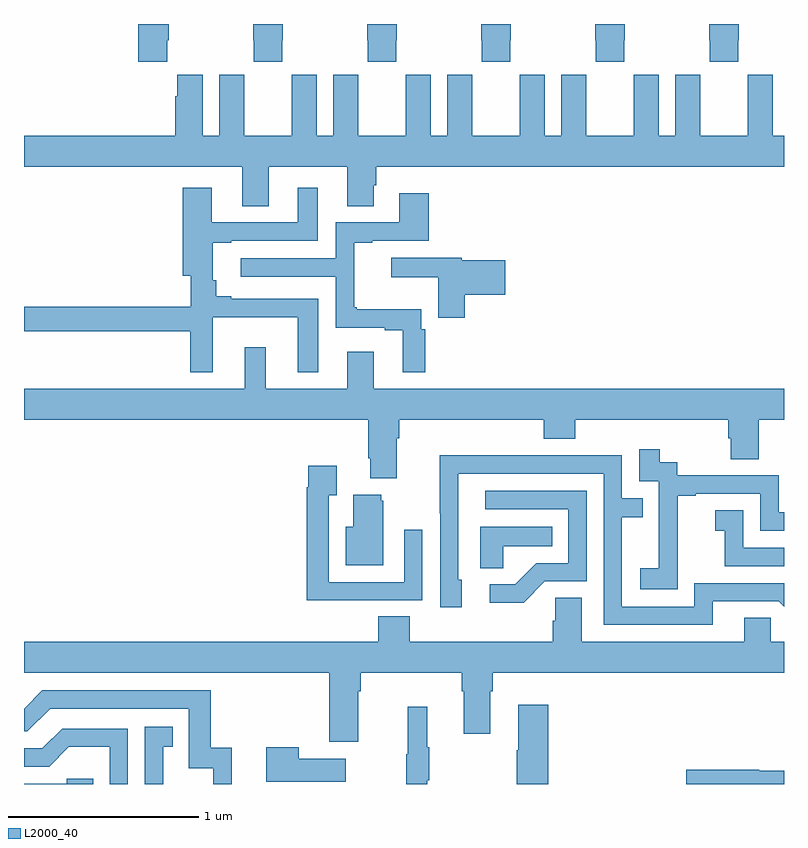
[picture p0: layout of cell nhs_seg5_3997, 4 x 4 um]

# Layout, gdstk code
import gdstk
lib = gdstk.Library(unit=1e-6, precision=1e-09)
def P(c, l, *ps):  # polygons
    for p in ps: c.add(gdstk.Polygon(p, *l))
L2000_40 = (2000, 40)

nhs_seg5_3997 = lib.new_cell('nhs_seg5_3997')
P(nhs_seg5_3997, L2000_40, [(346.359,902.713),(346.362,902.713),(346.362,902.799),(346.207,902.799),(346.207,902.713),(346.209,902.713),(346.209,902.601),(346.359,902.601)],
  [(346.959,902.713),(346.962,902.713),(346.962,902.799),(346.807,902.799),(346.807,902.713),(346.809,902.713),(346.809,902.601),(346.959,902.601)],
  [(347.559,902.713),(347.562,902.713),(347.562,902.799),(347.407,902.799),(347.407,902.713),(347.409,902.713),(347.409,902.601),(347.559,902.601)],
  [(348.159,902.713),(348.162,902.713),(348.162,902.799),(348.007,902.799),(348.007,902.713),(348.009,902.713),(348.009,902.601),(348.159,902.601)],
  [(348.759,902.713),(348.762,902.713),(348.762,902.799),(348.607,902.799),(348.607,902.713),(348.609,902.713),(348.609,902.601),(348.759,902.601)],
  [(345.755,902.713),(345.762,902.713),(345.762,902.799),(345.602,902.799),(345.602,902.601),(345.755,902.601)],
  [(346.288,902.048),(346.7,902.048),(346.7,901.84),(346.84,901.84),(346.84,901.95),(346.853,901.95),(346.853,902.048),(349,902.048),(349,902.212),(348.94,902.212),(348.94,902.533),(348.81,902.533),(348.81,902.42),(348.809,902.42),(348.809,902.212),(348.559,902.212),(348.559,902.42),(348.558,902.42),(348.558,902.533),(348.428,902.533),(348.428,902.212),(348.34,902.212),(348.34,902.533),(348.21,902.533),(348.21,902.42),(348.209,902.42),(348.209,902.212),(347.959,902.212),(347.959,902.42),(347.958,902.42),(347.958,902.533),(347.828,902.533),(347.828,902.212),(347.74,902.212),(347.74,902.533),(347.61,902.533),(347.61,902.42),(347.609,902.42),(347.609,902.212),(347.359,902.212),(347.359,902.42),(347.358,902.42),(347.358,902.533),(347.228,902.533),(347.228,902.212),(347.14,902.212),(347.14,902.533),(347.01,902.533),(347.01,902.42),(347.009,902.42),(347.009,902.212),(346.759,902.212),(346.759,902.42),(346.758,902.42),(346.758,902.533),(346.628,902.533),(346.628,902.212),(346.54,902.212),(346.54,902.533),(346.41,902.533),(346.41,902.42),(346.409,902.42),(346.409,902.212),(346.159,902.212),(346.159,902.42),(346.158,902.42),(346.158,902.533),(346.028,902.533),(346.028,902.212),(345.94,902.212),(345.94,902.533),(345.806,902.533),(345.806,902.42),(345.797,902.42),(345.797,902.212),(345,902.212),(345,902.048),(346.148,902.048),(346.148,901.84),(346.288,901.84)],
  [(345.994,901.256),(346.442,901.256),(346.442,900.965),(346.549,900.965),(346.549,901.353),(346.09,901.353),(346.09,901.366),(346.012,901.366),(346.012,901.45),(345.994,901.45),(345.994,901.647),(346.09,901.647),(346.09,901.659),(346.546,901.659),(346.546,901.936),(346.442,901.936),(346.442,901.755),(345.988,901.755),(345.988,901.936),(345.836,901.936),(345.836,901.475),(345.878,901.475),(345.878,901.31),(345,901.31),(345,901.182),(345.876,901.182),(345.876,900.965),(345.994,900.965)],
  [(347.111,901.193),(347.091,901.193),(347.091,901.297),(346.75,901.297),(346.75,901.309),(346.739,901.309),(346.739,901.647),(346.834,901.647),(346.834,901.659),(347.129,901.659),(347.129,901.909),(346.976,901.909),(346.976,901.755),(346.641,901.755),(346.641,901.566),(346.14,901.566),(346.14,901.47),(346.641,901.47),(346.641,901.2),(346.898,901.2),(346.898,901.188),(346.994,901.188),(346.994,900.965),(347.111,900.965)],
  [(347.321,901.373),(347.533,901.373),(347.533,901.556),(347.304,901.556),(347.304,901.57),(346.932,901.57),(346.932,901.466),(347.18,901.466),(347.18,901.254),(347.321,901.254)],
  [(346.963,900.62),(346.976,900.62),(346.976,900.716),(347.735,900.716),(347.735,900.617),(347.9,900.617),(347.9,900.716),(348.707,900.716),(348.707,900.618),(348.719,900.618),(348.719,900.508),(348.867,900.508),(348.867,900.716),(349,900.716),(349,900.88),(346.84,900.88),(346.84,901.075),(346.7,901.075),(346.7,900.88),(346.273,900.88),(346.273,901.099),(346.163,901.099),(346.163,900.88),(345,900.88),(345,900.716),(346.811,900.716),(346.811,900.514),(346.823,900.514),(346.823,900.407),(346.963,900.407)],
  [(348.441,900.031),(348.44,900.031),(348.44,900.315),(348.535,900.315),(348.535,900.327),(348.876,900.327),(348.876,900.132),(349,900.132),(349,900.228),(348.972,900.228),(348.972,900.423),(348.438,900.423),(348.438,900.492),(348.346,900.492),(348.346,900.562),(348.237,900.562),(348.237,900.393),(348.342,900.393),(348.342,900.164),(348.341,900.164),(348.341,899.935),(348.243,899.935),(348.243,899.825),(348.441,899.825)],
  [(348.625,899.76),(348.972,899.76),(349,899.732),(349,899.856),(348.528,899.856),(348.528,899.733),(348.147,899.733),(348.147,900.202),(348.257,900.202),(348.257,900.303),(348.147,900.303),(348.147,900.528),(347.651,900.528),(347.651,900.53),(347.188,900.53),(347.188,900.223),(347.19,900.223),(347.19,899.73),(347.305,899.73),(347.305,899.874),(347.286,899.874),(347.286,900.432),(348.051,900.432),(348.051,899.637),(348.625,899.637)],
  [(346.781,899.766),(347.097,899.766),(347.097,900.136),(347.001,900.136),(347.001,899.862),(346.605,899.862),(346.605,900.319),(346.645,900.319),(346.645,900.475),(346.497,900.475),(346.497,900.362),(346.489,900.362),(346.489,899.765),(346.781,899.765)],
  [(347.742,899.865),(347.961,899.865),(347.961,900.342),(347.427,900.342),(347.427,900.246),(347.865,900.246),(347.865,899.961),(347.696,899.961),(347.585,899.85),(347.451,899.85),(347.451,899.753),(347.629,899.753)],
  [(346.891,900.291),(346.88,900.291),(346.88,900.322),(346.733,900.322),(346.733,900.154),(346.694,900.154),(346.694,899.951),(346.891,899.951)],
  [(349,900.042),(348.786,900.042),(348.786,900.241),(348.639,900.241),(348.639,900.131),(348.688,900.131),(348.688,899.946),(349,899.946)],
  [(347.523,900.05),(347.78,900.05),(347.78,900.154),(347.402,900.154),(347.402,899.935),(347.523,899.935)],
  [(346.759,899.288),(346.772,899.288),(346.772,899.384),(347.303,899.384),(347.303,899.288),(347.315,899.288),(347.315,899.064),(347.455,899.064),(347.455,899.288),(347.468,899.288),(347.468,899.384),(349,899.384),(349,899.548),(348.93,899.548),(348.93,899.675),(348.791,899.675),(348.791,899.548),(347.935,899.548),(347.935,899.78),(347.796,899.78),(347.796,899.657),(347.783,899.657),(347.783,899.548),(347.03,899.548),(347.03,899.681),(346.865,899.681),(346.865,899.548),(345,899.548),(345,899.384),(346.607,899.384),(346.607,899.022),(346.759,899.022)],
  [(346.094,898.99),(345.983,898.99),(345.983,899.292),(345.096,899.292),(345,899.196),(345,899.076),(345.018,899.076),(345.138,899.196),(345.867,899.196),(345.867,898.881),(345.996,898.881),(345.996,898.799),(346.094,898.799)],
  [(347.759,899.215),(347.6,899.215),(347.6,898.976),(347.593,898.976),(347.593,898.799),(347.759,898.799)],
  [(347.123,898.819),(347.134,898.819),(347.134,898.993),(347.123,898.993),(347.123,899.206),(347.02,899.206),(347.02,898.956),(347.013,898.956),(347.013,898.799),(347.123,898.799)],
  [(345.733,898.995),(345.782,898.995),(345.782,899.101),(345.636,899.101),(345.636,898.799),(345.733,898.799)],
  [(345.546,899.091),(345.2,899.091),(345.095,898.986),(345,898.986),(345,898.89),(345.132,898.89),(345.236,898.994),(345.45,898.994),(345.45,898.799),(345.546,898.799)],
  [(346.693,898.933),(346.445,898.933),(346.445,898.993),(346.274,898.993),(346.274,898.811),(346.693,898.811)],
  [(349,898.868),(348.87,898.868),(348.87,898.874),(348.486,898.874),(348.486,898.799),(349,898.799)],
  [(345.365,898.827),(345.225,898.827),(345.225,898.8),(345,898.8),(345,898.799),(345.365,898.799)])

lib.write_gds('nhs_seg5_3997.gds')
